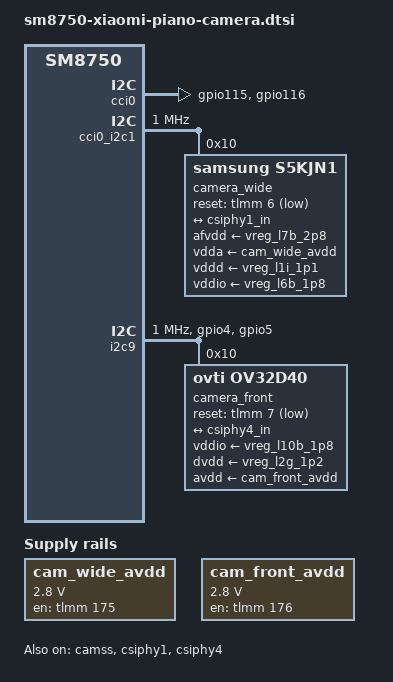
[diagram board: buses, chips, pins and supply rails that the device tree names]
// SPDX-License-Identifier: GPL-2.0-only
/*
 * Camera nodes imported from blu-sharky/debian-piano:
 * fd6266d73f3442b23362260c3aa0c86782e0b52c, boot/dtbo-piano-camera.dts.
 * Overlay containers/labels converted to the existing upstream board tree;
 * existing clock, QUP and RPMh providers are reused, not duplicated.
 * Sensor modes and board wiring follow the community implementation.
 * CSI endpoints use the standalone PHY graph of the common SoC tree.
 */
#include <dt-bindings/clock/qcom,sm8750-cambistmclkcc.h>
#include <dt-bindings/clock/qcom,sm8750-camcc.h>

&apps_rsc {
	regulators-0 {
		vreg_l6b_1p8: ldo6 {
			regulator-name = "vreg_l6b_1p8";
			regulator-min-microvolt = <1800000>;
			regulator-max-microvolt = <1800000>;
			regulator-initial-mode = <RPMH_REGULATOR_MODE_HPM>;
		};

		vreg_l7b_2p8: ldo7 {
			regulator-name = "vreg_l7b_2p8";
			regulator-min-microvolt = <2800000>;
			regulator-max-microvolt = <2800000>;
			regulator-initial-mode = <RPMH_REGULATOR_MODE_HPM>;
		};

		vreg_l10b_1p8: ldo10 {
			regulator-name = "vreg_l10b_1p8";
			regulator-min-microvolt = <1800000>;
			regulator-max-microvolt = <1800000>;
			regulator-initial-mode = <RPMH_REGULATOR_MODE_HPM>;
		};
	};
};

&apps_rsc {
	regulators-2 {
		vreg_l2g_1p2: ldo2 {
			regulator-name = "vreg_l2g_1p2";
			regulator-min-microvolt = <1200000>;
			regulator-max-microvolt = <1200000>;
			regulator-initial-mode = <RPMH_REGULATOR_MODE_HPM>;
		};
	};
};

&apps_rsc {
	regulators-5 {
		vreg_l1i_1p1: ldo1 {
			regulator-name = "vreg_l1i_1p1";
			/* Stock L1I VSET readback is 1096 mV (2026-10-12). */
			regulator-min-microvolt = <1096000>;
			regulator-max-microvolt = <1096000>;
			regulator-initial-mode = <RPMH_REGULATOR_MODE_HPM>;
		};
	};
};

/ {
	cam_wide_avdd: regulator-camera-wide-avdd {
		compatible = "regulator-fixed";
		regulator-name = "cam_wide_avdd";
		regulator-min-microvolt = <2800000>;
		regulator-max-microvolt = <2800000>;
		gpio = <&tlmm 175 GPIO_ACTIVE_HIGH>;
		enable-active-high;
		startup-delay-us = <100>;
		pinctrl-names = "default", "sleep";
		pinctrl-0 = <&cam_wide_avdd_pins>;
		pinctrl-1 = <&cam_wide_avdd_sleep>;
	};

	cam_front_avdd: regulator-camera-front-avdd {
		compatible = "regulator-fixed";
		regulator-name = "cam_front_avdd";
		regulator-min-microvolt = <2800000>;
		regulator-max-microvolt = <2800000>;
		gpio = <&tlmm 176 GPIO_ACTIVE_HIGH>;
		enable-active-high;
		startup-delay-us = <100>;
		pinctrl-names = "default", "sleep";
		pinctrl-0 = <&cam_front_avdd_pins>;
		pinctrl-1 = <&cam_front_avdd_sleep>;
	};
};

&tlmm {
	cam_cci0_1: cam-cci0-1-state {
		sda-pins {
			pins = "gpio115";
			function = "cci_i2c_sda";
			drive-strength = <4>;
			bias-disable;
		};

		scl-pins {
			pins = "gpio116";
			function = "cci_i2c_scl";
			drive-strength = <4>;
			bias-disable;
		};
	};

	cam_wide: cam-wide-state {
		mclk-pins {
			pins = "gpio90";
			function = "cam_mclk";
			drive-strength = <4>;
			bias-disable;
		};

		reset-pins {
			pins = "gpio6";
			function = "gpio";
			drive-strength = <2>;
			bias-disable;
		};
	};

	cam_front: cam-front-state {
		mclk-pins {
			pins = "gpio93";
			function = "cam_aon_mclk4";
			drive-strength = <2>;
			bias-disable;
		};

		reset-pins {
			pins = "gpio7";
			function = "gpio";
			drive-strength = <2>;
			bias-disable;
		};
	};

	cam_wide_avdd_pins: cam-wide-avdd-state {
		pins = "gpio175";
		function = "gpio";
		drive-strength = <2>;
		bias-disable;
	};

	cam_front_avdd_pins: cam-front-avdd-state {
		pins = "gpio176";
		function = "gpio";
		drive-strength = <2>;
		bias-disable;
	};

	cam_i2c9: cam-i2c9-state {
		pins = "gpio4", "gpio5";
		function = "qup2_se1";
		drive-strength = <2>;
		bias-disable;
	};
};

&cci0 {
	status = "okay";
	assigned-clocks = <&camcc CAM_CC_CCI_0_CLK>;
	assigned-clock-rates = <37500000>;
	pinctrl-0 = <&cam_cci0_1>;
	pinctrl-1 = <&cam_cci0_1>;
};

&cci0_i2c1 {
	clock-frequency = <1000000>;

	cam_wide_vcm: vcm@c {
		/* Stock uses GT9764BA; its register protocol is unverified. */
		status = "disabled";
		compatible = "giantec,gt9769";
		reg = <0x0c>;
		vin-supply = <&vreg_l6b_1p8>;
		vdd-supply = <&vreg_l7b_2p8>;
	};

	camera_wide: camera@10 {
		compatible = "samsung,s5kjn1";
		flash-leds = <&piano_camera_flash>;
		reg = <0x10>;
		power-domains = <&camcc CAM_CC_TITAN_TOP_GDSC>;
		clocks = <&cambistmclkcc CAM_BIST_MCLK_CC_MCLK1_CLK>;
		assigned-clocks = <&cambistmclkcc CAM_BIST_MCLK_CC_MCLK1_CLK>;
		assigned-clock-rates = <24000000>;
		reset-gpios = <&tlmm 6 GPIO_ACTIVE_LOW>;
		pinctrl-names = "default", "sleep";
		pinctrl-0 = <&cam_wide>;
		pinctrl-1 = <&cam_wide_sleep>;
		afvdd-supply = <&vreg_l7b_2p8>;
		vdda-supply = <&cam_wide_avdd>;
		vddd-supply = <&vreg_l1i_1p1>;
		vddio-supply = <&vreg_l6b_1p8>;
		orientation = <1>;
		rotation = <180>;

		port {
			cam_wide_ep: endpoint {
				data-lanes = <1 2 3 4>;
				link-frequencies = /bits/ 64 <700000000>;
				remote-endpoint = <&csiphy1_in>;
			};
		};
	};
};

&camss {
	status = "okay";
	ports {
		/delete-node/ port@0;
		/delete-node/ port@2;
		/delete-node/ port@3;
		/delete-node/ port@5;
	};
};

&csiphy0_out {
	/delete-property/ remote-endpoint;
};

&csiphy2_out {
	/delete-property/ remote-endpoint;
};

&csiphy3_out {
	/delete-property/ remote-endpoint;
};

&csiphy5_out {
	/delete-property/ remote-endpoint;
};

&csiphy1 {
	vdda-0p9-supply = <&vreg_l1f_0p88>;
	vdda-1p2-supply = <&vreg_l3g_1p2>;
	status = "okay";
};

&csiphy1_in {
	bus-type = <4>;
	data-lanes = <1 2 3 4>;
	remote-endpoint = <&cam_wide_ep>;
};

&csiphy4 {
	vdda-0p9-supply = <&vreg_l3i_0p88>;
	vdda-1p2-supply = <&vreg_l3g_1p2>;
	status = "okay";
};

&csiphy4_in {
	bus-type = <4>;
	data-lanes = <1 2 3 4>;
	remote-endpoint = <&cam_front_ep>;
};


&i2c9 {
	status = "okay";
	pinctrl-names = "default", "sleep";
	pinctrl-0 = <&cam_i2c9>;
	pinctrl-1 = <&cam_i2c9_sleep>;
	clock-frequency = <1000000>;

	camera_front: camera@10 {
		compatible = "ovti,ov32d40";
		reg = <0x10>;
		power-domains = <&camcc CAM_CC_TITAN_TOP_GDSC>;
		clocks = <&cambistmclkcc CAM_BIST_MCLK_CC_MCLK4_CLK>;
		assigned-clocks = <&cambistmclkcc CAM_BIST_MCLK_CC_MCLK4_CLK>;
		assigned-clock-rates = <19200000>;
		reset-gpios = <&tlmm 7 GPIO_ACTIVE_LOW>;
		pinctrl-names = "default", "sleep";
		pinctrl-0 = <&cam_front>;
		pinctrl-1 = <&cam_front_sleep>;
		vddio-supply = <&vreg_l10b_1p8>;
		dvdd-supply = <&vreg_l2g_1p2>;
		avdd-supply = <&cam_front_avdd>;
		orientation = <0>;
		rotation = <0>;

		port {
			cam_front_ep: endpoint {
				data-lanes = <1 2 3 4>;
				link-frequencies = /bits/ 64 <842400000>;
				remote-endpoint = <&csiphy4_in>;
			};
		};
	};
};

&tlmm {
	cam_wide_sleep: cam-wide-sleep-state {
		mclk-pins {
			pins = "gpio90";
			function = "cam_mclk";
			drive-strength = <4>;
			bias-pull-down;
		};
		reset-pins {
			pins = "gpio6";
			function = "gpio";
			drive-strength = <2>;
			bias-pull-down;
			output-low;
		};
	};
	cam_front_sleep: cam-front-sleep-state {
		mclk-pins {
			pins = "gpio93";
			function = "cam_aon_mclk4";
			drive-strength = <2>;
			bias-pull-down;
		};
		reset-pins {
			pins = "gpio7";
			function = "gpio";
			drive-strength = <2>;
			bias-pull-down;
			output-low;
		};
	};
	cam_i2c9_sleep: cam-i2c9-sleep-state {
		pins = "gpio4", "gpio5";
		function = "gpio";
		drive-strength = <4>;
	};
	cam_wide_avdd_sleep: cam-wide-avdd-sleep-state {
		pins = "gpio175";
		function = "gpio";
		drive-strength = <2>;
		bias-pull-down;
		output-low;
	};
	cam_front_avdd_sleep: cam-front-avdd-sleep-state {
		pins = "gpio176";
		function = "gpio";
		drive-strength = <2>;
		bias-pull-down;
		output-low;
	};
};

&camss_csiphy1_in {
	data-lanes = <1 2 3 4>;
};

&camss_csiphy4_in {
	data-lanes = <1 2 3 4>;
};
